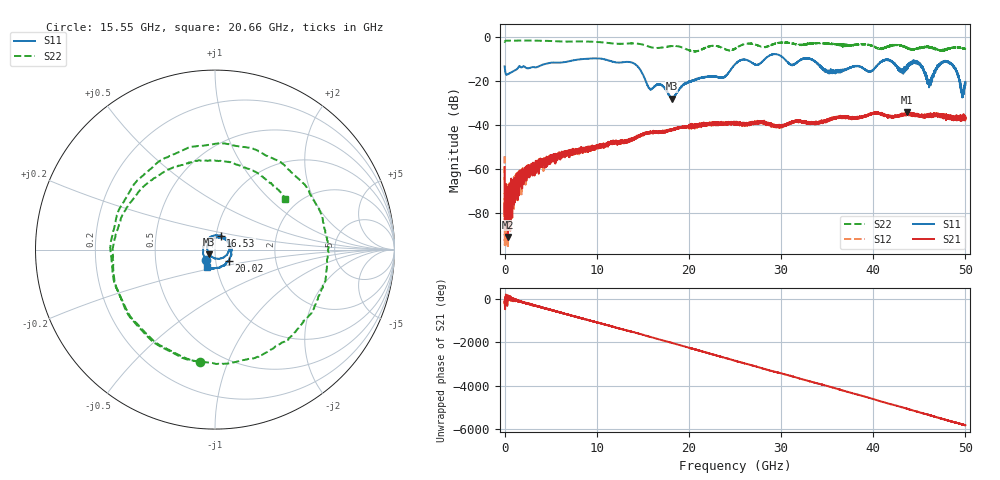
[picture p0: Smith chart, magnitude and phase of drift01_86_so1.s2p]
!Created with skrf (http://scikit-rf.org).
# Hz S RI R 50.0
!freq ReS11 ImS11 ReS21 ImS21 ReS12 ImS12 ReS22 ImS22
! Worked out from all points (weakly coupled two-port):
!   10001 points, 300 kHz to 50 GHz, reference 50 ohm
!   highest |S21| = -34.09 dB at 43.67 GHz (marker M1); lowest = -90.9 dB at 370.3 MHz (marker M2)
!   lowest |S11| = -27.8 dB at 18.11 GHz (marker M3), VSWR 1.08, Z = 46.9 - j2.43 ohm
!   |S11| at or under -10 dB: start of sweep to 8.083 GHz; 10.9 GHz to 25.88 GHz (14.98 GHz wide, 81.5 % of centre); 33.37 GHz to end of sweep (the widest 3 of 17)
!   |S22| runs from -6.4 to -1.4 dB; largest |S21 - S12| = 0.0046
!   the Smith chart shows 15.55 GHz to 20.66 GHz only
!   S11 on the Smith chart (normalised r, x): 15.55 GHz: 0.90, -0.11; 16.53 GHz: 1.05, +0.16; 20.02 GHz: 1.16, -0.14; 20.66 GHz: 0.90, -0.18
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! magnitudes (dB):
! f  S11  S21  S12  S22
! 300 kHz  -13.1  -59.0  -54.1  -2.1
! 370.3 MHz  -16.7  -90.9  -79.4  -1.4
! 3.13 GHz  -13.5  -59.1  -60.2  -1.4
! 8.335 GHz  -9.9  -49.9  -50.2  -1.8
! 13.86 GHz  -11.5  -46.1  -46.3  -2.7
! 15.55 GHz  -22.0  -43.4  -43.1  -4.0
! 16.53 GHz  -21.5  -42.9  -43.2  -4.8
! 16.67 GHz  -21.3  -43.0  -43.1  -4.8
! 18.11 GHz  -27.8  -42.1  -41.9  -4.0
! 20.02 GHz  -20.2  -40.7  -40.6  -5.9
! 20.66 GHz  -19.3  -40.3  -40.7  -6.3
! 23.77 GHz  -18.3  -38.9  -39.4  -5.1
! 25 GHz  -12.2  -39.1  -39.2  -5.0
! 33.34 GHz  -10.0  -39.0  -38.9  -2.7
! 35.33 GHz  -15.8  -37.3  -37.7  -2.8
! 41.67 GHz  -10.2  -35.8  -36.1  -4.1
! 43.67 GHz  -13.0  -34.1  -35.0  -4.6
! 44.91 GHz  -11.6  -35.2  -35.3  -4.8
! 46.12 GHz  -20.0  -34.9  -35.5  -4.3
! 48.04 GHz  -11.2  -35.7  -36.4  -5.2
! 49.64 GHz  -25.2  -37.4  -36.5  -4.8
! 50 GHz  -21.5  -36.8  -35.9  -5.3
